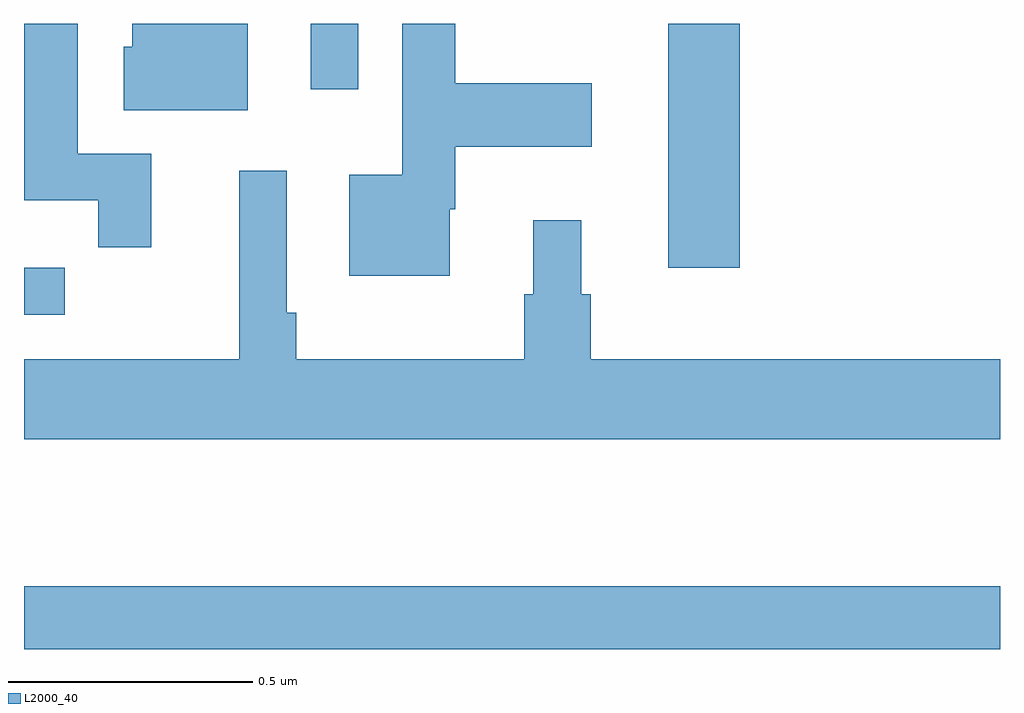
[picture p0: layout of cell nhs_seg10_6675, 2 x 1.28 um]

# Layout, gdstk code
import gdstk
lib = gdstk.Library(unit=1e-6, precision=1e-09)
def R(c, l, rs):  # rectangles x0, y0, x1, y1
    for r in rs: c.add(gdstk.rectangle(r[:2], r[2:], *l))
def P(c, l, *ps):  # polygons
    for p in ps: c.add(gdstk.Polygon(p, *l))
L2000_40 = (2000, 40)

nhs_seg10_6675 = lib.new_cell('nhs_seg10_6675')
R(nhs_seg10_6675, L2000_40, [(194,1301.218,196,1301.347), (194,1301.904,194.083,1302), (195.32,1302,195.467,1302.5), (194.588,1302.366,194.685,1302.5)])
P(nhs_seg10_6675, L2000_40, [(194.261,1302.234),(194.11,1302.234),(194.11,1302.5),(194,1302.5),(194,1302.138),(194.152,1302.138),(194.152,1302.042),(194.261,1302.042)],
  [(194.872,1302.12),(194.884,1302.12),(194.884,1302.248),(195.163,1302.248),(195.163,1302.378),(194.884,1302.378),(194.884,1302.5),(194.775,1302.5),(194.775,1302.19),(194.666,1302.19),(194.666,1301.984),(194.872,1301.984)],
  [(194.458,1302.5),(194.222,1302.5),(194.222,1302.453),(194.204,1302.453),(194.204,1302.323),(194.458,1302.323)],
  [(196,1301.812),(195.161,1301.812),(195.161,1301.946),(195.142,1301.946),(195.142,1302.097),(195.044,1302.097),(195.044,1301.946),(195.025,1301.946),(195.025,1301.812),(194.558,1301.812),(194.558,1301.908),(194.538,1301.908),(194.538,1302.199),(194.441,1302.199),(194.441,1301.812),(194,1301.812),(194,1301.648),(196,1301.648)])

lib.write_gds('nhs_seg10_6675.gds')
